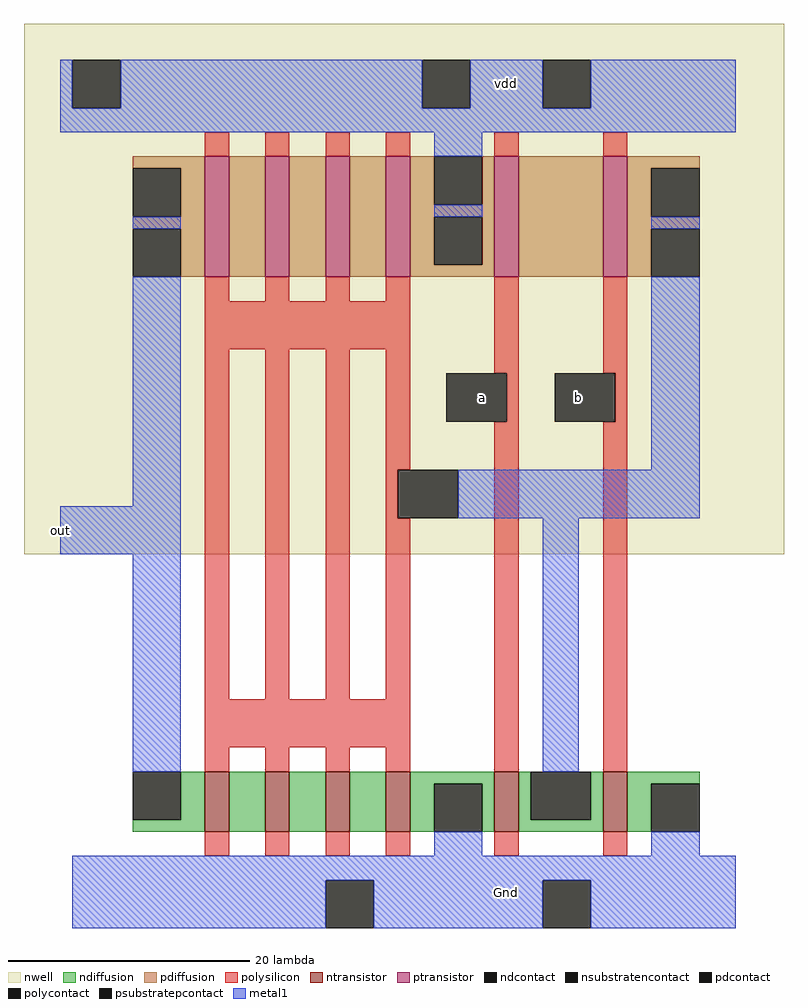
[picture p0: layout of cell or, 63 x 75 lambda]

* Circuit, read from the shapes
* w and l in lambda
.subckt or Gnd a b out vdd
M1 n1 n2 out Gnd nfet w=5 l=2
M2 n3 n2 n1 Gnd nfet w=5 l=2
M3 n4 n2 n3 Gnd nfet w=5 l=2
M4 Gnd n2 n4 Gnd nfet w=5 l=2
M5 n2 a Gnd Gnd nfet w=5 l=2
M6 Gnd b n2 Gnd nfet w=5 l=2
M7 n5 n2 out vdd pfet w=10 l=2
M8 n6 n2 n5 vdd pfet w=10 l=2
M9 n7 n2 n6 vdd pfet w=10 l=2
M10 vdd n2 n7 vdd pfet w=10 l=2
M11 n8 a vdd vdd pfet w=10 l=2
M12 n2 b n8 vdd pfet w=10 l=2
.ends

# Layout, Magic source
magic
tech min2
<< nwell >>
rect -38 24 25 68
<< ntransistor >>
rect -23 1 -21 6
rect -18 1 -16 6
rect -13 1 -11 6
rect -8 1 -6 6
rect 1 1 3 6
rect 10 1 12 6
<< ptransistor >>
rect -23 47 -21 57
rect -18 47 -16 57
rect -13 47 -11 57
rect -8 47 -6 57
rect 1 47 3 57
rect 10 47 12 57
<< ndiffusion >>
rect -25 2 -23 6
rect -29 1 -23 2
rect -21 1 -18 6
rect -16 1 -13 6
rect -11 1 -8 6
rect -6 5 1 6
rect -6 1 -4 5
rect 0 1 1 5
rect 3 2 4 6
rect 9 2 10 6
rect 3 1 10 2
rect 12 5 18 6
rect 12 1 14 5
<< pdiffusion >>
rect -29 56 -23 57
rect -25 52 -23 56
rect -29 51 -23 52
rect -25 47 -23 51
rect -21 47 -18 57
rect -16 47 -13 57
rect -11 47 -8 57
rect -6 53 -4 57
rect 0 53 1 57
rect -6 52 1 53
rect -6 48 -4 52
rect 0 48 1 52
rect -6 47 1 48
rect 3 47 10 57
rect 12 56 18 57
rect 12 52 14 56
rect 12 51 18 52
rect 12 47 14 51
<< ndcontact >>
rect -29 2 -25 6
rect -4 1 0 5
rect 4 2 9 6
rect 14 1 18 5
<< pdcontact >>
rect -29 52 -25 56
rect -29 47 -25 51
rect -4 53 0 57
rect -4 48 0 52
rect 14 52 18 56
rect 14 47 18 51
<< psubstratepcontact >>
rect -13 -7 -9 -3
rect 5 -7 9 -3
<< nsubstratencontact >>
rect -34 61 -30 65
rect -5 61 -1 65
rect 5 61 9 65
<< polysilicon >>
rect -23 57 -21 59
rect -18 57 -16 59
rect -13 57 -11 59
rect -8 57 -6 59
rect 1 57 3 59
rect 10 57 12 59
rect -23 45 -21 47
rect -18 45 -16 47
rect -13 45 -11 47
rect -8 45 -6 47
rect -23 41 -6 45
rect -23 12 -21 41
rect -18 12 -16 41
rect -13 12 -11 41
rect -8 31 -6 41
rect 1 39 3 47
rect 10 39 12 47
rect 2 35 3 39
rect 11 35 12 39
rect -8 27 -7 31
rect -8 12 -6 27
rect -23 8 -6 12
rect -23 6 -21 8
rect -18 6 -16 8
rect -13 6 -11 8
rect -8 6 -6 8
rect 1 6 3 35
rect 10 6 12 35
rect -23 -1 -21 1
rect -18 -1 -16 1
rect -13 -1 -11 1
rect -8 -1 -6 1
rect 1 -1 3 1
rect 10 -1 12 1
<< polycontact >>
rect -3 35 2 39
rect 6 35 11 39
rect -7 27 -2 31
<< metal1 >>
rect -35 61 -34 65
rect -30 61 -5 65
rect -1 61 5 65
rect 9 61 21 65
rect -35 59 21 61
rect -4 57 0 59
rect -29 51 -25 52
rect -4 52 0 53
rect 14 51 18 52
rect -29 28 -25 47
rect 14 31 18 47
rect -35 24 -25 28
rect -2 27 18 31
rect -29 6 -25 24
rect 5 6 8 27
rect -4 -1 0 1
rect 14 -1 18 1
rect -34 -3 21 -1
rect -34 -7 -13 -3
rect -9 -7 5 -3
rect 9 -7 21 -3
<< labels >>
rlabel metal1 2 63 2 63 5 vdd
rlabel polycontact 8 37 8 37 1 b
rlabel polycontact 0 37 0 37 1 a
rlabel metal1 2 -4 2 -4 1 Gnd
rlabel metal1 -35 24 -35 28 3 out
<< end >>
